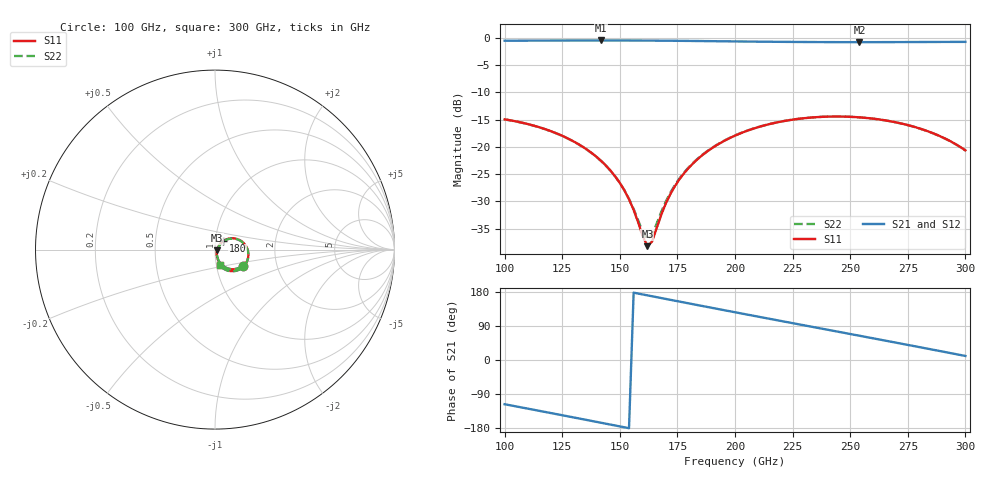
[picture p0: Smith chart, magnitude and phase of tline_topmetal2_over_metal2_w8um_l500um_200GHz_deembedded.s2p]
! Created with skrf 2.2.0 (http://scikit-rf.org).
# GHz S DB R 50.0
! Port[1] = P1
! Port[2] = P2
!freq dBS11 angS11 dBS21 angS21 dBS12 angS12 dBS22 angS22
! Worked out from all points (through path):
!   101 points, 100 GHz to 300 GHz, reference 50 ohm
!   highest |S21| = -0.44 dB at 142 GHz (marker M1); lowest = -0.7 dB at 254 GHz (marker M2)
!   group delay of S21, straight-line fit = 3.23 ps
!   lowest |S11| = -38.2 dB at 162 GHz (marker M3), VSWR 1.02, Z = 51.2 - j0.424 ohm
!   |S11| at or under -10 dB: start of sweep to end of sweep
!   |S22| runs from -36.9 to -14.4 dB; largest |S21 - S12| = 1.1e-14
!   S11 on the Smith chart (normalised r, x): 100 GHz: 1.34, -0.25; 180 GHz: 1.09, +0.10; 300 GHz: 1.05, -0.19
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100  -14.94 -30.6  -0.48 -116.7  -0.48 -116.7  -14.95 -30.4
118  -16.79 -49.3  -0.46 -137.6  -0.46 -137.6  -16.81 -48.9
134  -20.00 -64.8  -0.44 -156.3  -0.44 -156.3  -20.03 -64.0
142  -22.61 -71.2  -0.44 -165.8  -0.44 -165.8  -22.64 -70.0
148  -25.42 -74.2  -0.44 -172.9  -0.44 -172.9  -25.43 -72.3
152  -28.00 -74.0  -0.44 -177.6  -0.44 -177.6  -27.97 -71.4
156  -31.58 -68.8  -0.45 177.7  -0.45 177.7  -31.40 -64.8
160  -36.48 -46.6  -0.46 172.9  -0.46 172.9  -35.70 -41.3
162  -38.25 -19.8  -0.46 170.6  -0.46 170.6  -36.95 -17.0
164  -37.40 10.6  -0.46 168.2  -0.46 168.2  -36.17 8.8
168  -32.46 39.7  -0.48 163.5  -0.48 163.5  -31.93 36.0
174  -27.16 47.7  -0.50 156.4  -0.50 156.4  -26.95 45.0
180  -23.82 46.2  -0.52 149.3  -0.52 149.3  -23.70 44.2
188  -20.82 40.5  -0.56 140.0  -0.56 140.0  -20.76 39.0
200  -17.93 29.3  -0.61 126.0  -0.61 126.0  -17.89 28.1
218  -15.52 10.7  -0.68 105.3  -0.68 105.3  -15.51 9.7
234  -14.57 -6.3  -0.73 86.9  -0.73 86.9  -14.57 -7.1
244  -14.42 -16.8  -0.74 75.5  -0.74 75.5  -14.41 -17.6
254  -14.57 -27.3  -0.75 64.0  -0.75 64.0  -14.57 -28.0
268  -15.33 -41.7  -0.74 47.9  -0.74 47.9  -15.34 -42.5
286  -17.50 -59.5  -0.71 27.1  -0.71 27.1  -17.51 -60.3
300  -20.63 -71.2  -0.70 10.7  -0.70 10.7  -20.67 -72.1
